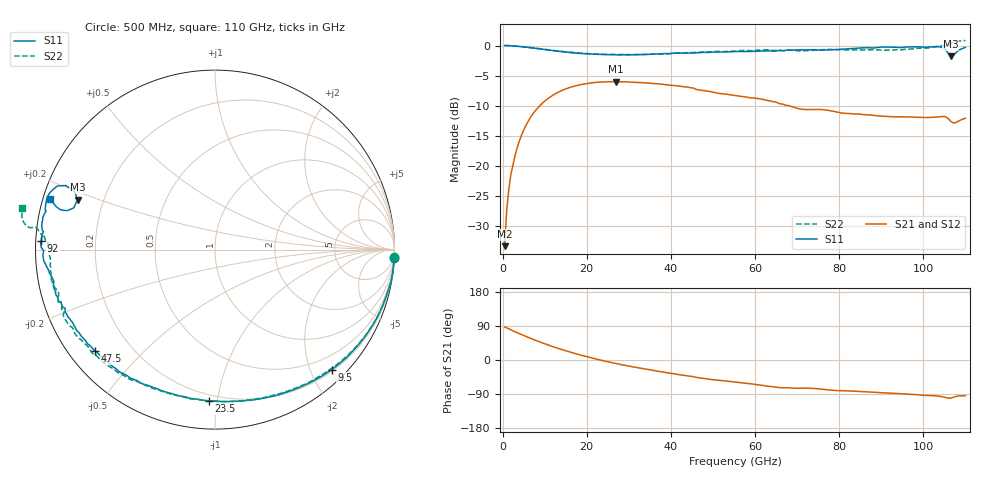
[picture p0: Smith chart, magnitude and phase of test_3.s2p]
!File name = EG0520F_1010_6x25_2SDBCB2EV_191593406_RC6642_Vg_N1p5_Vd_0.s2p
!Base file name = EG0520F_1010_6x25_2SDBCB2EV_191593406_RC6642
!Date = 10/8/2019
!Time = 7:48 AM
!Test duration(min) = 0.15
!Test = S-Parameters
!MPTS version = 8.91.5
!Cal File =
!ComputerName = CMPE-LAB-6
!Comments =
!Z0 = 50
!Input Power(dBm) = -13.00
!Device ID = EG0520F_1010_6x25_2SDBCB2EV
!Row = 66
!Column = 42
!Technology = QPHT09BCB
!Lot/Wafer = 191593406
!Gate Size = 150
!Mask = EG0520
!Cal Standards = EG2306 GaAs
!Cal Kit = EG2308
!Job Number = 20191002105035
!Device Type = FET
!set_Vg(v) = -1.500
!set_Vd(v) = 0.000
!file_name = EG0520F_1010_6x25_2SDBCB2EV_191593406_RC6642_Vg_N1p5_Vd_0.s2p
!Vg(V) = -1.500
!Vg(mA) = -0.000
!Vd(V) = 0.000
!Vd(mA) = 0.002
# GHz  S  DB  R  50
!%	Freq(GHz)  s11(dB)  s11(deg)  s21(dB)  s21(deg)  s12(dB)  s12(deg)  s22(dB)  s22(deg)
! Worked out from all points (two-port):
!   220 points, 500 MHz to 110 GHz, reference 50 ohm
!   highest |S21| = -5.99 dB at 27 GHz (marker M1); lowest = -33.3 dB at 500 MHz (marker M2)
!   |S21| within 3 dB of the highest: 10.46 GHz to 62.2 GHz (51.75 GHz wide, 142 % of centre)
!   lowest |S11| = -1.8 dB at 106.5 GHz (marker M3), VSWR 9.76, Z = 5.28 + j8.73 ohm
!   |S11| at or under -10 dB: nowhere
!   |S22| runs from -1.5 to 0.8 dB; largest |S21 - S12| = 0.0058
!   S11 on the Smith chart (normalised r, x): 500 MHz: 1, -42; 9.5 GHz: 0.23, -2.34; 23.5 GHz: 0.16, -0.95; 47.5 GHz: 0.08, -0.36; 92 GHz: 0.02, +0.03; 110 GHz: 0.02, +0.15
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0.5  -0.01 -2.7  -33.31 87.2  -33.31 87.2  0.00 -2.5
1  -0.01 -5.4  -27.32 84.8  -27.32 84.7  -0.01 -5.0
1.5  -0.02 -8.1  -23.82 82.3  -23.82 82.3  -0.01 -7.5
2  -0.03 -10.7  -21.36 79.9  -21.36 79.8  -0.02 -10.0
3  -0.10 -15.5  -18.23 74.3  -18.23 74.4  -0.09 -14.4
5.5  -0.27 -27.9  -13.36 62.5  -13.37 62.5  -0.24 -25.9
9.5  -0.61 -45.9  -9.55 45.1  -9.55 45.1  -0.58 -42.6
14  -1.02 -63.4  -7.50 27.9  -7.50 28.0  -0.97 -59.1
19  -1.34 -79.8  -6.43 11.8  -6.43 11.9  -1.29 -74.8
23.5  -1.48 -92.3  -6.05 -0.9  -6.05 -0.8  -1.44 -87.2
27  -1.54 -100.8  -5.99 -9.5  -5.99 -9.4  -1.51 -95.8
37  -1.41 -121.1  -6.36 -29.7  -6.35 -29.6  -1.43 -116.3
47.5  -1.16 -139.8  -7.44 -48.3  -7.44 -47.9  -1.07 -134.9
55.5  -0.99 -150.0  -8.33 -58.7  -8.31 -58.7  -0.91 -146.4
62.5  -0.90 -156.8  -9.03 -68.2  -9.03 -67.7  -0.69 -155.9
73.5  -0.70 -167.2  -10.62 -74.8  -10.62 -75.6  -0.81 -165.8
92  -0.26 177.1  -11.79 -87.4  -11.80 -88.3  -0.74 -179.8
103.5  -0.18 162.4  -11.87 -95.3  -11.87 -96.2  -0.14 174.3
105.5  -0.86 156.8  -11.92 -99.7  -11.92 -100.6  0.06 173.0
106.5  -1.79 160.0  -12.58 -100.7  -12.56 -101.6  0.30 173.3
107.5  -1.39 165.2  -12.85 -96.8  -12.86 -97.8  0.66 171.7
110  -0.32 162.8  -12.07 -94.3  -12.07 -95.2  0.84 168.0
